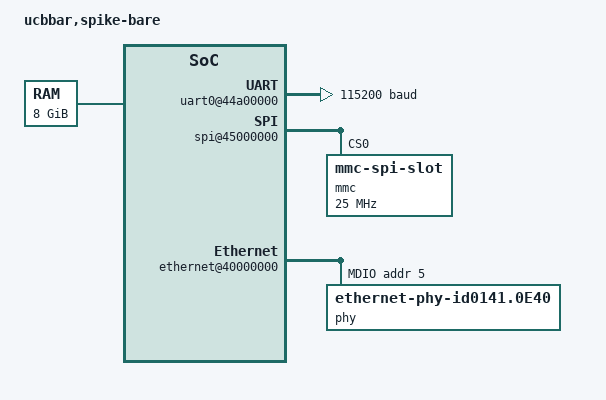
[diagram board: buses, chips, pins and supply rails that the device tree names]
/* 
* SPDX-License-Identifier: GPL-2.0+
*
* Copyright (c) 2019-2022 UltraRisc,Inc
*
* Authors:
*   Yi Pei <peiyi@ultrarisc.com>
*/

/dts-v1/;

/ {
	#address-cells = <0x02>;
	#size-cells = <0x02>;
	compatible = "ucbbar,spike-bare-dev";
	model = "ucbbar,spike-bare";

	chosen {
		bootargs = "earlycon=sbi console=ttyS0,115200 root=/dev/mmcblk0p2 rw rootfstype=ext4 rootwait";
		stdout-path = "/soc/uart0@44a00000:115200";
	};

	cpus {
		#address-cells = <0x01>;
		#size-cells = <0x00>;
		timebase-frequency = <75000000>;
		cpu@0 {
			device_type = "cpu";
			reg = <0x00>;
			status = "okay";
			compatible = "riscv";
			riscv,isa = "rv64imafdcb";
			mmu-type = "riscv,sv39";
			clock-frequency = <75000000>;

			cpu0_intc:interrupt-controller {
				#address-cells = <0x01>;
				interrupt-controller;
				compatible = "riscv,cpu-intc";
				#interrupt-cells = <0x01>;
			};
		};
	};

	memory@80000000 {
		device_type = "memory";
		reg = <0x00 0x80000000 0x02 0x00>;
	};

	pmu {
		compatible = "riscv,pmu";
		riscv,event-to-mhpmcounters = <0x01 0x01 0x01>, <0x02 0x02 0x04>;
		riscv,event-to-mhpmevent = <0x01 0x00 0x01>, <0x02 0x00 0x04>;
		riscv,raw-event-to-mhpmcounters = <0x00 0x01 0x00 0xff 0x1f8>, <0x00 0x02 0x00 0xff 0x1f8>, 
											<0x00 0x03 0x00 0xff 0x1f8>, <0x00 0x04 0x00 0xff 0x1f8>, 
											<0x00 0x05 0x00 0xff 0x1f8>, <0x00 0x06 0x00 0xff 0x1f8>, 
											<0x00 0x07 0x00 0xff 0x1f8>, <0x00 0x08 0x00 0xff 0x1f8>, 
											<0x00 0x09 0x00 0xff 0x1f8>, <0x00 0x0a 0x00 0xff 0x1f8>, 
											<0x00 0x0b 0x00 0xff 0x1f8>, <0x00 0x0c 0x00 0xff 0x1f8>, 
											<0x00 0x0d 0x00 0xff 0x1f8>, <0x00 0x0e 0x00 0xff 0x1f8>, 
											<0x00 0x0f 0x00 0xff 0x1f8>, <0x00 0x10 0x00 0xff 0x1f8>, 
											<0x00 0x11 0x00 0xff 0x1f8>, <0x00 0x12 0x00 0xff 0x1f8>, 
											<0x00 0x13 0x00 0xff 0x1f8>, <0x00 0x14 0x00 0xff 0x1f8>, 
											<0x00 0x15 0x00 0xff 0x1f8>, <0x00 0x20 0x00 0xff 0x1f8>, 
											<0x00 0x21 0x00 0xff 0x1f8>, <0x00 0x22 0x00 0xff 0x1f8>, 
											<0x00 0x23 0x00 0xff 0x1f8>, <0x00 0x24 0x00 0xff 0x1f8>, 
											<0x00 0x25 0x00 0xff 0x1f8>, <0x00 0x26 0x00 0xff 0x1f8>, 
											<0x00 0x27 0x00 0xff 0x1f8>, <0x00 0x28 0x00 0xff 0x1f8>, 
											<0x00 0x29 0x00 0xff 0x1f8>, <0x00 0x2a 0x00 0xff 0x1f8>, 
											<0x00 0x30 0x00 0xff 0x1f8>, <0x00 0x31 0x00 0xff 0x1f8>, 
											<0x00 0x32 0x00 0xff 0x1f8>;
	};

	soc {
		compatible = "ucbbar,spike-bare-soc", "simple-bus";
		#address-cells = <0x02>;
		#size-cells = <0x02>;
		ranges;

		clint@60000000 {
			compatible = "riscv,clint0";
			interrupts-extended = <&cpu0_intc 0x03>, <&cpu0_intc 0x07>;
			reg = <0x00 0x60000000 0x00 0x100000>;
		};

		plic@50000000 {
			#interrupt-cells = <0x01>;
			#address-cells = <0x02>;
			phandle = <0x01>;
			compatible = "riscv,plic0";
			interrupt-controller;
			interrupts-extended = <&cpu0_intc 0x9>, <&cpu0_intc 0xb>;
			reg = <0x00 0x50000000 0x00 0x400000>;
			riscv,max-priority = <0x07>;
			riscv,ndev = <0x0a>;
		};

		uart0@44a00000 {
			interrupt-parent = <0x01>;
			interrupts = <0x01>;
			clock-frequency = <75000000>;
			current-speed = <115200>;
			reg = <0x00 0x44a00000 0x00 0x10000>;
			compatible = "ns16550a";
			reg-offset = <0x1000>;
			reg-shift = <0x02>;
		};

		uart1@44a10000 {
			interrupts = <0x04>;
			interrupt-parent = <0x01>;
			clock-frequency = <75000000>;
			current-speed = <115200>;
			reg = <0x00 0x44a10000 0x00 0x10000>;
			compatible = "ns16550a";
			reg-offset = <0x1000>;
			reg-shift = <0x02>;
			status = "disabled";
		};

		spi@45000000 {
			compatible = "xlnx,xps-spi-2.00.b", "xlnx,xps-spi-2.00.a";
			#address-cells = <0x01>;
			#size-cells = <0x00>;
			interrupt-parent = <0x01>;
			interrupts = <0x02 0x02>;
			fifo-size = <0x100>;
			reg = <0x00 0x45000000 0x00 0x10000>;
			xlnx,family = "kintex7";
			xlnx,fifo-exist = <0x01>;
			xlnx,num-ss-bits = <0x01>;
			xlnx,num-transfer-bits = <0x08>;
			xlnx,sck-ratio = <0x04>;

			mmc@0 {
				compatible = "mmc-spi-slot";
				reg = <0x00>;
				spi-max-frequency = <0x17d7840>;
				voltage-ranges = <0xce4 0xce4>;
				disable-wp;
			};
		};

		ethernet@40000000 {
			compatible = "xlnx,xps-ethernetlite-1.00.a";
			device_type = "network";
			reg = <0x00 0x40000000 0x00 0x100000>;
			interrupt-parent = <0x01>;
			interrupts = <0x03>;
			local-mac-address = [00 18 3e 02 e3 e5];
			phy-handle = <0x04>;
			xlnx,duplex = <0x01>;
			xlnx,include-global-buffers = <0x01>;
			xlnx,include-internal-loopback = <0x00>;
			xlnx,include-mdio = <0x01>;
			xlnx,rx-ping-pong = <0x01>;
			xlnx,s-axi-id-width = <0x01>;
			xlnx,tx-ping-pong = <0x01>;
			xlnx,use-internal = <0x00>;

			mdio {
				#address-cells = <0x01>;
				#size-cells = <0x00>;

				phy@0 {
					compatible = "ethernet-phy-id0141.0E40";
					device_type = "ethernet-phy";
					phy-mode = "mii";
					status = "okay";
					// reg = <0x17>;
					reg = <0x05>;
					phandle = <0x06>;
				};
			};
		};
	};
};
